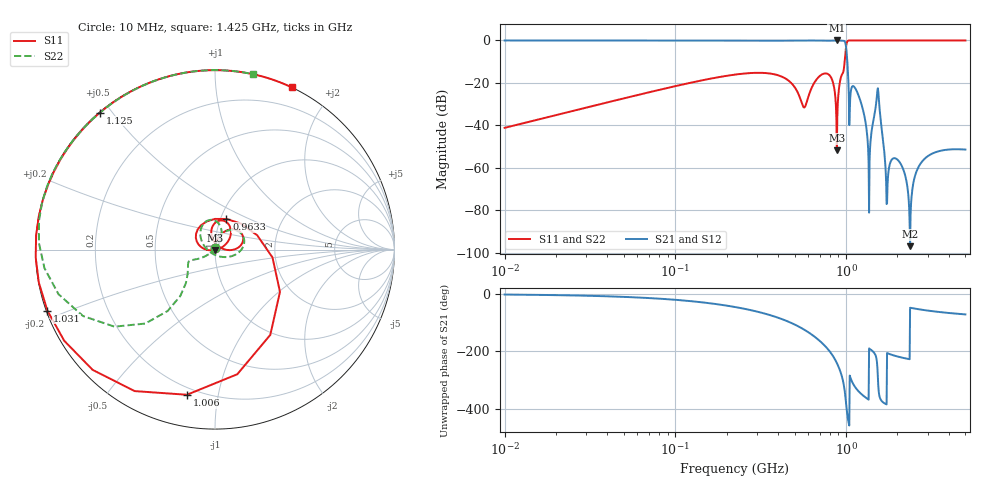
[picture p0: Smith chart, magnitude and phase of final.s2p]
! Created with skrf 1.11.0 (http://scikit-rf.org).
# Hz S RI R 50.0
!freq ReS11 ImS11 ReS21 ImS21 ReS12 ImS12 ReS22 ImS22
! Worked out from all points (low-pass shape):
!   1001 points, 10 MHz to 5 GHz, reference 50 ohm
!   highest |S21| = 0.00 dB at 883 MHz (marker M1); lowest = -96.8 dB at 2.372 GHz (marker M2)
!   |S21| within 3 dB of the highest: start of sweep to 999.9 MHz
!   lowest |S11| = -51.7 dB at 883 MHz (marker M3), VSWR 1.01, Z = 50 - j0.259 ohm
!   |S11| at or under -10 dB: start of sweep to 980.9 MHz
!   |S22| runs from -51.7 to 0.0 dB; largest |S21 - S12| = 3.4e-12
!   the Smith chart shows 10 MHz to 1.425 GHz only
!   S11 on the Smith chart (normalised r, x): 10 MHz: 1.00, +0.02; 963.3 MHz: 1.07, +0.38; 1.006 GHz: 0.16, -0.81; 1.031 GHz: 0.00, -0.18; 1.125 GHz: 0.00, +0.47; 1.425 GHz: 0.00, +1.58
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1e7  0.000306 0.00877  0.9993 -0.0356  0.9993 -0.0356  0.000319 0.00877
2.823111e7  0.00242 0.0246  0.9946 -0.1003  0.9946 -0.1003  0.00253 0.0246
7.969957e7  0.0186 0.0655  0.9578 -0.2792  0.9578 -0.2792  0.0195 0.0653
2.236068e8  0.1097 0.1126  0.6916 -0.705  0.6916 -0.705  0.1147 0.1076
5.679767e8  0.017 0.0202  -0.5653 -0.8245  -0.5653 -0.8245  -0.0127 -0.0232
6.312669e8  -0.0187 0.0771  -0.7893 -0.6089  -0.7893 -0.6089  -0.0698 0.0377
7.846517e8  0.0736 0.1438  -0.9596 0.2302  -0.9596 0.2302  -0.000404 0.1615
8.829932e8  0.000121 -0.00259  -0.4856 0.8742  -0.4856 0.8742  -0.00213 0.00147
9.632587e8  0.0636 0.1707  0.6069 0.7737  0.6069 0.7737  -0.1506 -0.1024
1.006087e9  -0.1565 -0.8088  0.4519 -0.3423  0.4519 -0.3423  -0.7362 -0.3697
1.031411e9  -0.9336 -0.3403  0.0105 -0.1113  0.0105 -0.1113  -0.9809 0.1594
1.125168e9  -0.6415 0.7632  0.0624 0.0464  0.0624 0.0464  -0.5451 0.8347
1.355771e9  0.2108 0.9775  0.00127 -0.000201  0.00127 -0.000201  0.1012 0.9949
1.424879e9  0.4274 0.904  -0.00897 0.00305  -0.00897 0.00305  0.2122 0.9772
1.479013e9  0.7007 0.7131  -0.0188 0.0111  -0.0188 0.0111  0.2846 0.9584
1.544773e9  -0.9872 -0.147  0.0482 0.0388  0.0482 0.0388  0.356 0.9324
1.613457e9  0.021 0.9997  0.00878 -0.00204  0.00878 -0.00204  0.4227 0.9062
1.782137e9  0.4181 0.9084  -0.000849 0.000468  -0.000849 0.000468  0.5447 0.8386
2.030576e9  0.603 0.7978  -0.00114 0.000931  -0.00114 0.000931  0.6623 0.7492
2.371885e9  0.7287 0.6848  9.61e-06 -1.07e-05  9.61e-06 -1.07e-05  0.7604 0.6495
2.893748e9  0.8267 0.5626  0.000914 -0.00139  0.000914 -0.00139  0.8434 0.5372
5e9  0.9452 0.3264  0.000866 -0.00256  0.000866 -0.00256  0.9494 0.314
